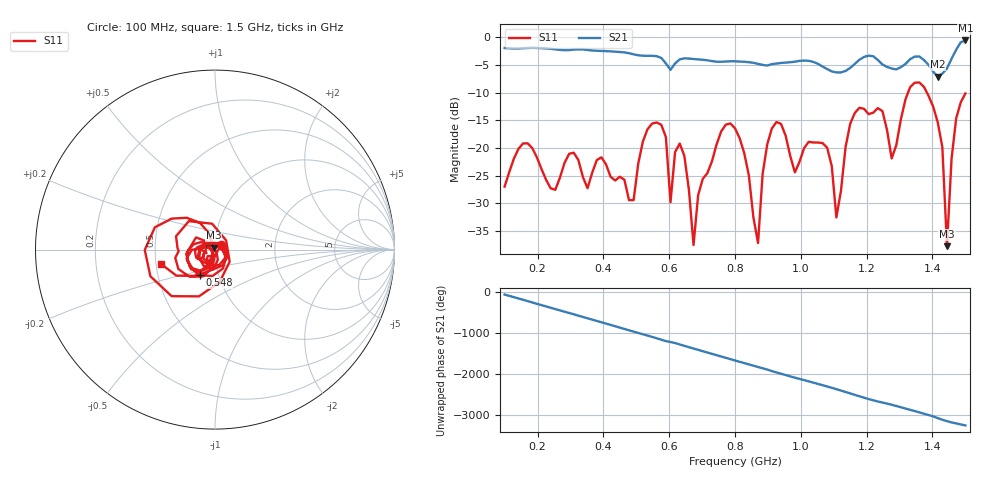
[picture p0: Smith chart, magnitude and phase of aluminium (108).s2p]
! NanoVNA-App
! Date: 2025-09-26 09:58:54
! Start: 100MHz Stop: 1,5GHz Points: 101
! S-Parameter data: F S11 S21 S12 S22
# Hz S RI R 50
!  Frequency  S11_Real  S11_Imag  S21_Real  S21_Imag  S12_Real  S12_Imag  S22_Real  S22_Imag
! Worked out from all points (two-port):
!   101 points, 100 MHz to 1.5 GHz, reference 50 ohm
!   highest |S21| = -0.56 dB at 1.5 GHz (marker M1); lowest = -7.1 dB at 1.416 GHz (marker M2)
!   |S21| within 3 dB of the highest: start of sweep to 569 MHz; 1.191 GHz to 1.223 GHz (31.84 MHz wide, 2.64 % of centre)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
!   lowest |S11| = -37.7 dB at 1.444 GHz (marker M3), VSWR 1.03, Z = 49.3 + j1.09 ohm
!   |S11| at or under -10 dB: start of sweep to 1.326 GHz; 1.383 GHz to end of sweep
!   S12 and S22 are empty: the file has one direction only
!   S11 on the Smith chart (normalised r, x): 100 MHz: 1.07, +0.06; 548 MHz: 0.81, -0.24; 1.5 GHz: 0.53, -0.09
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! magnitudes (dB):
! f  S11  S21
! 100 MHz  -27.0  -1.9
! 156 MHz  -19.2  -2.0
! 338 MHz  -25.3  -2.2
! 492 MHz  -29.4  -3.1
! 548 MHz  -15.6  -3.3
! 576 MHz  -15.8  -3.7
! 604 MHz  -29.8  -5.9
! 646 MHz  -21.4  -3.8
! 674 MHz  -37.5  -3.9
! 702 MHz  -25.6  -4.0
! 800 MHz  -16.4  -4.3
! 870 MHz  -37.2  -4.8
! 912 MHz  -16.5  -4.8
! 1.038 GHz  -19.0  -4.4
! 1.108 GHz  -32.5  -6.3
! 1.178 GHz  -12.7  -4.0
! 1.276 GHz  -21.9  -5.6
! 1.346 GHz  -8.2  -3.5
! 1.416 GHz  -15.3  -7.1
! 1.444 GHz  -37.7  -5.6
! 1.472 GHz  -14.6  -2.2
! 1.5 GHz  -10.1  -0.6
